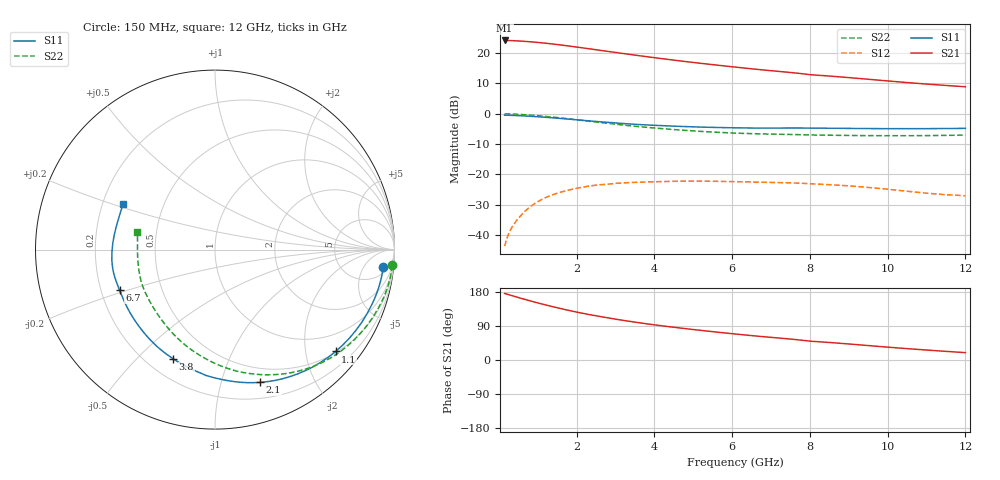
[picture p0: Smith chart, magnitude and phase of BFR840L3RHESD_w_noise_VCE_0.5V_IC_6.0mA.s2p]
! Infineon Technologies  Discrete & RF Semiconductors
! BFR840L3RHESD
! VCE =  0.5 V,  IC =  6.0 mA
! Common Emitter S-Parameters:  Jun 2012
# GHz  S  MA  R  50
!  f  S11  S21  S12  S22
! GHz  MAG  ANG  MAG  ANG  MAG  ANG  MAG  ANG
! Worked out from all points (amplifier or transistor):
!   91 points, 150 MHz to 12 GHz, reference 50 ohm
!   highest |S21| = 24.2 dB at 150 MHz (marker M1)
!   |S21| within 3 dB of that: start of sweep to 2.464 GHz
!   unconditionally stable (mu >= 1): 9.075 GHz to end of sweep
!   at 1.3 GHz: K = 0.10, MSG = 25.1 dB, |S12| = -27.2 dB
!   at 4.3 GHz: K = 0.33, MSG = 20.2 dB, |S12| = -22.4 dB
!   at 12 GHz: K = 2.11, MAG = 12.0 dB, |S12| = -27.1 dB
!   lowest NFmin = 0.53 dB at 450 MHz
!   S11 on the Smith chart (normalised r, x): 150 MHz: 9, -15; 1.1 GHz: 0.53, -2.64; 2.1 GHz: 0.35, -1.33; 3.8 GHz: 0.30, -0.64; 6.7 GHz: 0.28, -0.19; 12 GHz: 0.29, +0.22
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0.15  0.9425 -5.8  16.13 175.6  0.0065 88.9  0.9918 -5.1
0.35  0.9357 -13.4  16 169.5  0.0137 82.8  0.9844 -12.0
0.6  0.9198 -22.7  15.69 162.0  0.022 73.2  0.9655 -20.2
0.9  0.8967 -33.4  15.17 153.4  0.032 65.6  0.9356 -29.7
1.1  0.8795 -40.2  14.76 148.1  0.0382 61.8  0.9131 -35.9
1.3  0.861 -46.8  14.3 142.9  0.0437 58.0  0.8887 -41.8
1.6  0.8316 -56.4  13.57 135.6  0.0507 52.1  0.8487 -50.3
1.8  0.8114 -62.6  13.06 130.9  0.0548 48.2  0.8206 -55.6
2.1  0.781 -71.3  12.31 124.4  0.0603 42.7  0.7785 -63.3
2.2  0.771 -74.1  12.06 122.4  0.0619 41.1  0.7649 -65.7
2.6  0.7339 -84.3  11.1 114.9  0.067 35.2  0.7146 -74.8
3  0.7032 -94.0  10.25 107.8  0.0707 29.4  0.6707 -83.0
3.3  0.6798 -100.7  9.621 103.0  0.0725 26.1  0.638 -89.2
3.8  0.6513 -111.1  8.716 95.6  0.0745 21.2  0.5941 -98.4
4.2  0.6337 -118.6  8.075 90.2  0.0757 17.7  0.5652 -105.2
5  0.6054 -132.6  6.994 80.4  0.077 11.1  0.5187 -118.0
6.1  0.5833 -149.0  5.845 68.4  0.0754 3.6  0.4772 -133.7
6.7  0.5778 -156.9  5.336 62.5  0.074 0.5  0.4641 -141.6
8  0.5775 -174.2  4.398 49.7  0.0696 -6.4  0.4451 -159.1
8.5  0.5742 -178.8  4.173 46.3  0.0673 -8.3  0.4404 -163.6
10.5  0.5644 163.2  3.258 30.0  0.0524 -12.6  0.4323 177.8
12  0.5716 153.6  2.777 19.4  0.0442 -6.0  0.4428 167.5
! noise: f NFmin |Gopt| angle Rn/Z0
0.45  0.53  0.47  6  0.18
0.9  0.57  0.47  11  0.18
1.9  0.6  0.48  29  0.17
3.5  0.62  0.48  47  0.15
4  0.64  0.47  55  0.15
5.5  0.68  0.47  70  0.13
7  0.75  0.46  91  0.12
8  0.81  0.43  100  0.11
10  0.94  0.39  123  0.1
12  1.11  0.33  153  0.09
